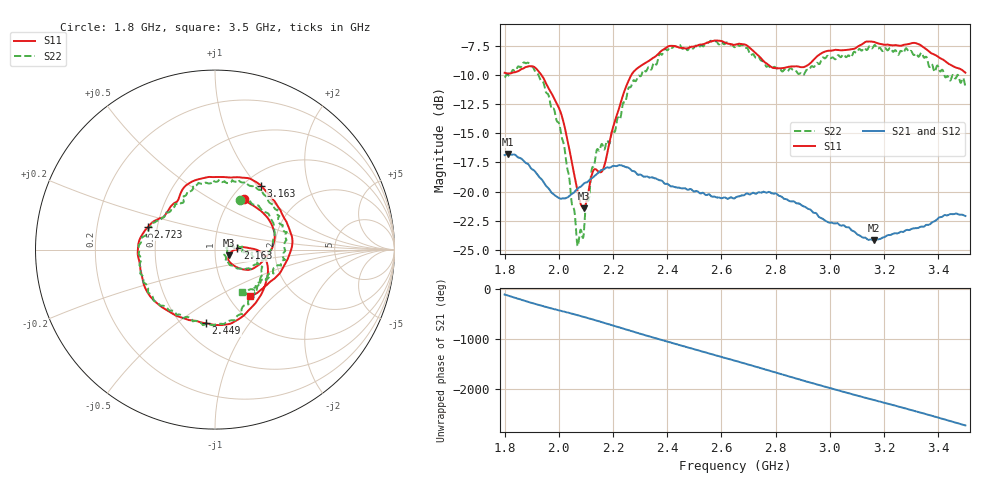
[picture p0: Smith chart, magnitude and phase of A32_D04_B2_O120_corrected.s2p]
! Created with skrf 1.9.0 (http://scikit-rf.org).
# Hz S RI R 50.0
!freq ReS11 ImS11 ReS21 ImS21 ReS12 ImS12 ReS22 ImS22
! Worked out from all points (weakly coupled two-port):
!   1601 points, 1.8 GHz to 3.5 GHz, reference 50 ohm
!   highest |S21| = -16.77 dB at 1.812 GHz (marker M1); lowest = -24.2 dB at 3.162 GHz (marker M2)
!   lowest |S11| = -21.5 dB at 2.091 GHz (marker M3), VSWR 1.18, Z = 58.4 - j3.71 ohm
!   |S11| at or under -10 dB: 1.936 GHz to 2.267 GHz (331.1 MHz wide, 15.8 % of centre)
!   |S22| runs from -24.7 to -7.0 dB; largest |S21 - S12| = 0.0023
!   S11 on the Smith chart (normalised r, x): 1.8 GHz: 1.14, +0.72; 2.163 GHz: 1.28, +0.02; 2.449 GHz: 0.65, -0.65; 2.723 GHz: 0.44, +0.13; 3.163 GHz: 1.19, +1.05; 3.5 GHz: 1.26, -0.72
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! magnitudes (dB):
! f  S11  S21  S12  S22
! 1.8 GHz  -9.8  -16.9  -16.9  -10.2
! 1.812 GHz  -9.9  -16.8  -16.8  -9.9
! 1.882 GHz  -9.3  -17.6  -17.6  -9.0
! 1.942 GHz  -10.2  -19.1  -19.1  -10.6
! 2.011 GHz  -13.5  -20.6  -20.6  -15.4
! 2.067 GHz  -19.7  -19.8  -19.8  -24.3
! 2.084 GHz  -21.2  -19.5  -19.5  -23.4
! 2.091 GHz  -21.5  -19.3  -19.4  -23.8
! 2.128 GHz  -18.2  -18.7  -18.7  -17.9
! 2.163 GHz  -18.1  -18.1  -18.0  -16.1
! 2.261 GHz  -10.3  -18.0  -18.0  -11.0
! 2.367 GHz  -8.2  -19.0  -18.9  -8.5
! 2.449 GHz  -7.7  -19.7  -19.7  -7.5
! 2.65 GHz  -7.4  -20.6  -20.5  -7.6
! 2.723 GHz  -8.1  -20.2  -20.1  -8.4
! 2.797 GHz  -9.4  -20.2  -20.1  -9.3
! 2.934 GHz  -8.8  -21.7  -21.7  -9.2
! 3.162 GHz  -7.1  -24.2  -24.1  -7.5
! 3.163 GHz  -7.1  -24.2  -24.1  -7.5
! 3.217 GHz  -7.4  -23.7  -23.7  -7.8
! 3.324 GHz  -7.3  -23.1  -23.1  -8.3
! 3.5 GHz  -9.8  -22.1  -22.1  -11.0
